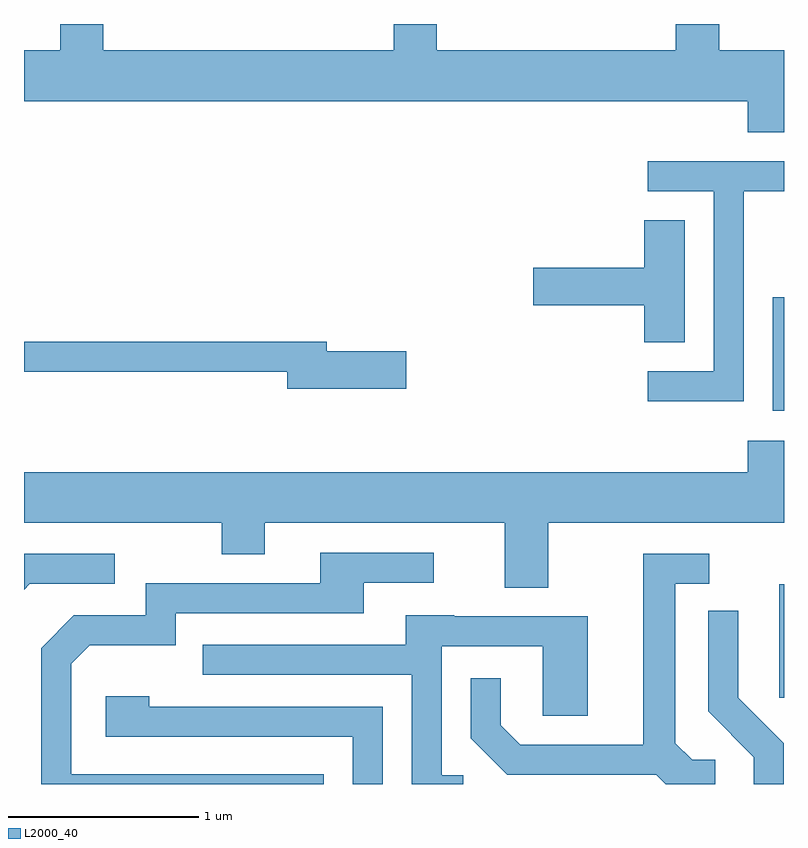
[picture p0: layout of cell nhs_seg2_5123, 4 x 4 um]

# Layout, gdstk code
import gdstk
lib = gdstk.Library(unit=1e-6, precision=1e-09)
def R(c, l, rs):  # rectangles x0, y0, x1, y1
    for r in rs: c.add(gdstk.rectangle(r[:2], r[2:], *l))
def P(c, l, *ps):  # polygons
    for p in ps: c.add(gdstk.Polygon(p, *l))
L2000_40 = (2000, 40)

nhs_seg2_5123 = lib.new_cell('nhs_seg2_5123')
R(nhs_seg2_5123, L2000_40, [(339.586,1076.256,339.611,1076.854), (339.551,1077.766,339.611,1078.364)])
P(nhs_seg2_5123, L2000_40, [(339.611,1079.664),(339.269,1079.664),(339.269,1079.802),(339.041,1079.802),(339.041,1079.664),(337.784,1079.664),(337.784,1079.802),(337.556,1079.802),(337.556,1079.664),(336.029,1079.664),(336.029,1079.802),(335.801,1079.802),(335.801,1079.664),(335.611,1079.664),(335.611,1079.396),(339.421,1079.396),(339.421,1079.231),(339.611,1079.231)],
  [(339.399,1078.921),(339.611,1078.921),(339.611,1079.079),(338.893,1079.079),(338.893,1078.921),(339.241,1078.921),(339.241,1077.974),(338.893,1077.974),(338.893,1077.816),(339.399,1077.816)],
  [(339.089,1078.769),(338.876,1078.769),(338.876,1078.519),(338.291,1078.519),(338.291,1078.321),(338.876,1078.321),(338.876,1078.126),(339.089,1078.126)],
  [(337.624,1078.079),(337.204,1078.079),(337.204,1078.129),(335.611,1078.129),(335.611,1077.971),(336.996,1077.971),(336.996,1077.881),(337.624,1077.881)],
  [(335.611,1077.176),(336.651,1077.176),(336.651,1077.011),(336.879,1077.011),(336.879,1077.176),(338.141,1077.176),(338.141,1076.836),(338.369,1076.836),(338.369,1077.176),(339.611,1077.176),(339.611,1077.609),(339.421,1077.609),(339.421,1077.444),(335.611,1077.444)],
  [(337.189,1075.854),(335.859,1075.854),(335.859,1076.434),(335.957,1076.531),(336.409,1076.531),(336.409,1076.701),(337.399,1076.701),(337.399,1076.861),(337.768,1076.861),(337.768,1077.019),(337.171,1077.019),(337.171,1076.859),(336.251,1076.859),(336.251,1076.689),(335.874,1076.689),(335.701,1076.517),(335.701,1075.802),(337.189,1075.802)],
  [(335.642,1076.856),(336.088,1076.856),(336.088,1077.014),(335.611,1077.014),(335.611,1076.825)],
  [(339.248,1075.929),(339.127,1075.929),(339.039,1076.017),(339.039,1076.856),(339.218,1076.856),(339.218,1077.014),(338.871,1077.014),(338.871,1076.009),(338.222,1076.009),(338.119,1076.112),(338.119,1076.358),(337.961,1076.358),(337.961,1076.044),(338.154,1075.851),(338.939,1075.851),(338.988,1075.802),(339.248,1075.802)],
  [(339.609,1076.017),(339.369,1076.257),(339.369,1076.713),(339.211,1076.713),(339.211,1076.184),(339.451,1075.944),(339.451,1075.802),(339.609,1075.802)],
  [(337.923,1075.849),(337.809,1075.849),(337.809,1076.526),(338.341,1076.526),(338.341,1076.161),(338.579,1076.161),(338.579,1076.684),(337.875,1076.684),(337.875,1076.689),(337.621,1076.689),(337.621,1076.534),(336.553,1076.534),(336.553,1076.376),(337.651,1076.376),(337.651,1075.802),(337.923,1075.802)],
  [(337.499,1076.209),(336.269,1076.209),(336.269,1076.264),(336.041,1076.264),(336.041,1076.051),(337.341,1076.051),(337.341,1075.802),(337.499,1075.802)])

lib.write_gds('nhs_seg2_5123.gds')
